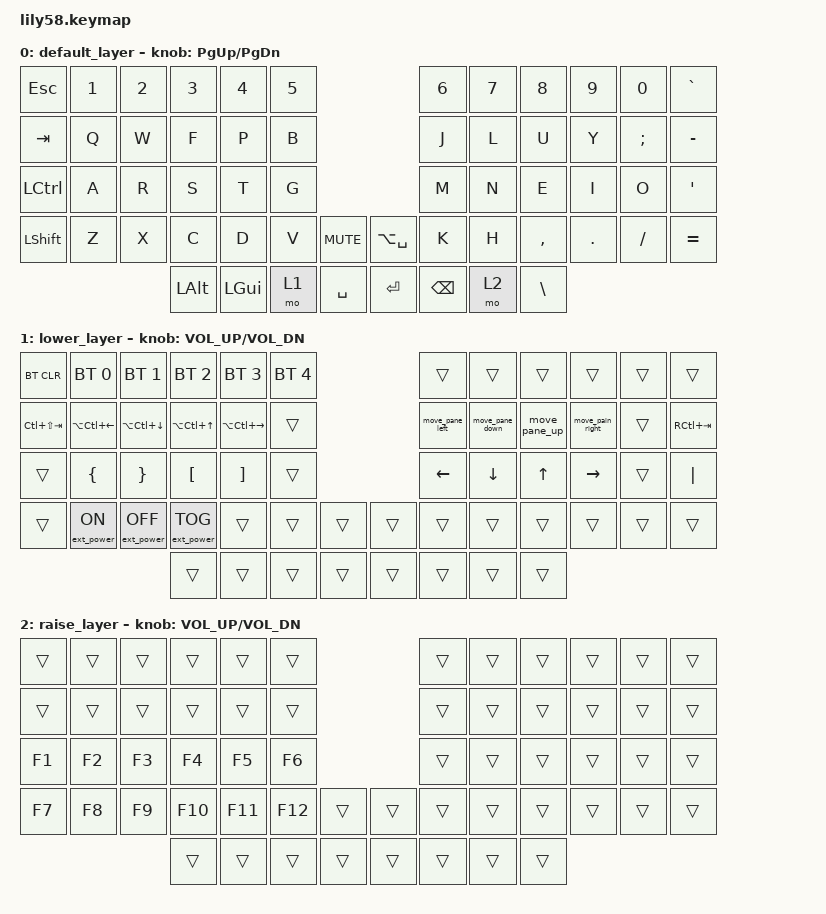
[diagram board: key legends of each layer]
/*
 * Copyright (c) 2020 The ZMK Contributors
 *
 * SPDX-License-Identifier: MIT
 */

#include <behaviors.dtsi>
#include <dt-bindings/zmk/keys.h>
#include <dt-bindings/zmk/bt.h>
#include <dt-bindings/zmk/ext_power.h>

#define MACRO(name, keys)             \
name: name##_macro {                  \
	label = #name;                    \
	compatible = "zmk,behavior-macro";\
	#binding-cells = <0>;             \
	tap-ms = <1>;                     \
	wait-ms = <1>;                    \
	bindings = <keys>;                \
};

/ {
    macros {
        MACRO(vim_q,  &kp COLON &kp Q &kp EXCL)
		MACRO(vim_s,  &kp COLON &kp W &kp Q)
		MACRO(dir_up, &kp DOT &kp DOT &kp FSLH)

        move_pane_left: move_pane_left {
            compatible = "zmk,behavior-macro";
            label = "move_pane_left";
            #binding-cells = <0>;
            bindings =
                <&macro_press>,
                <&kp LCTRL>,
                <&macro_tap>,
                <&kp W &kp H>,
                <&macro_release>,
                <&kp LCTRL>;
        };
        move_pain_right: move_pain_right {
            compatible = "zmk,behavior-macro";
            label = "move_pane_right";
            #binding-cells = <0>;
            bindings =
                <&macro_press>,
                <&kp LCTRL>,
                <&macro_tap>,
                <&kp W &kp L>,
                <&macro_release>,
                <&kp LCTRL>;
        };
        move_pane_up: move_pane_up {
            compatible = "zmk,behavior-macro";
            label = "new_macro";
            #binding-cells = <0>;
            bindings =
                <&macro_press>,
                <&kp LCTRL>,
                <&macro_tap>,
                <&kp W &kp K>,
                <&macro_release>,
                <&kp LCTRL>;
        };
        move_pane_down: move_pane_down {
            compatible = "zmk,behavior-macro";
            label = "new_macro";
            #binding-cells = <0>;
            bindings =
                <&macro_press>,
                <&kp LCTRL>,
                <&macro_tap>,
                <&kp W &kp J>,
                <&macro_release>,
                <&kp LCTRL>;
        };
    };
};

/ {
    keymap {
        compatible = "zmk,keymap";

        default_layer {
            // ------------------------------------------------------------------------------------------------------------
            // |  ESC  |  1  |  2  |  3   |  4   |  5   |                   |  6   |  7    |  8    |  9   |   0   |   `   |
            // |  TAB  |  Q  |  W  |  F   |  P   |  B   |                   |  J   |  L    |  U    |  Y   |   ;   |   -   |
            // |  CTRL |  A  |  R  |  S   |  T   |  G   |                   |  M   |  N    |  E    |  I   |   O   |   '   |
            // | SHIFT |  Z  |  X  |  C   |  D   |  V   |   "["  |  |  "]"  |  K   |  H    |  ,    |  .   |   /   | SHIFT |
            //                     | ALT  | GUI  | LOWER|  SPACE |  | ENTER | RAISE| BSPC  | GUI   |

            bindings = <
 &kp ESCAPE  &kp N1  &kp N2    &kp N3    &kp N4  &kp N5                                    &kp N6  &kp N7         &kp N8   &kp N9    &kp N0  &kp GRAVE
    &kp TAB   &kp Q   &kp W     &kp F     &kp P   &kp B                                     &kp J   &kp L          &kp U    &kp Y  &kp SEMI  &kp MINUS
  &kp LCTRL   &kp A   &kp R     &kp S     &kp T   &kp G                                     &kp M   &kp N          &kp E    &kp I     &kp O    &kp SQT
  &kp LSHFT   &kp Z   &kp X     &kp C     &kp D   &kp V  &kp K_MUTE  &kp LA(SPACE)          &kp K   &kp H      &kp COMMA  &kp DOT  &kp FSLH  &kp EQUAL
                             &kp LALT  &kp LGUI   &mo 1   &kp SPACE        &kp RET  &kp BACKSPACE   &mo 2  &kp BACKSLASH
            >;

            sensor-bindings = <&inc_dec_kp PG_UP PAGE_DOWN>;
        };

        lower_layer {
            // ------------------------------------------------------------------------------------------------------------
            // | BTCLR | BT1 | BT2 |  BT3 |  BT4 |  BT5 |                   |      |       |       |      |       |       |
            // |  F1   |  F2 |  F3 |  F4  |  F5  |  F6  |                   |  F7  |  F8   |  F9   |  F10 |  F11  |  F12  |
            // |   `   |  !  |  @  |  #   |  $   |  %   |                   |  ^   |  &    |  *    |  (   |   )   |   ~   |
            // |       |     |     |      |      |      |        |  |       |      |  _    |  +    |  {   |   }   |  "|"  |
            //                     |      |      |      |        |  |       |      |       |       |

            bindings = <
      &bt BT_CLR            &bt BT_SEL 0            &bt BT_SEL 1          &bt BT_SEL 2             &bt BT_SEL 3  &bt BT_SEL 4                           &trans           &trans         &trans            &trans  &trans       &trans
 &kp LC(LS(TAB))  &kp LA(LC(LEFT_ARROW))  &kp LA(LC(DOWN_ARROW))  &kp LA(LC(UP_ARROW))  &kp LA(LC(RIGHT_ARROW))        &trans                  &move_pane_left  &move_pane_down  &move_pane_up  &move_pain_right  &trans  &kp RC(TAB)
          &trans          &kp LEFT_BRACE         &kp RIGHT_BRACE      &kp LEFT_BRACKET        &kp RIGHT_BRACKET        &trans                         &kp LEFT         &kp DOWN         &kp UP         &kp RIGHT  &trans     &kp PIPE
          &trans        &ext_power EP_ON       &ext_power EP_OFF     &ext_power EP_TOG                   &trans        &trans  &trans  &trans           &trans           &trans         &trans            &trans  &trans       &trans
                                                                                &trans                   &trans        &trans  &trans  &trans           &trans           &trans         &trans
            >;

            sensor-bindings = <&inc_dec_kp C_VOL_UP C_VOL_DN>;
        };

        raise_layer {
            // ------------------------------------------------------------------------------------------------------------
            // |       |     |     |      |      |      |                   |      |       |       |      |       |       |
            // |   `   |  1  |  2  |  3   |  4   |  5   |                   |  6   |   7   |   8   |  9   |   0   |       |
            // |   F1  |  F2 |  F3 |  F4  |  F5  |  F6  |                   |      |   <-  |   v   |  ^   |  ->   |       |
            // |   F7  |  F8 |  F9 |  F10 |  F11 |  F12 |        |  |       |  +   |   -   |   =   |  [   |   ]   |   \   |
            //                     |      |      |      |        |  |       |      |       |       |

            bindings = <
 &trans  &trans  &trans   &trans   &trans   &trans                  &trans  &trans  &trans  &trans  &trans  &trans
 &trans  &trans  &trans   &trans   &trans   &trans                  &trans  &trans  &trans  &trans  &trans  &trans
 &kp F1  &kp F2  &kp F3   &kp F4   &kp F5   &kp F6                  &trans  &trans  &trans  &trans  &trans  &trans
 &kp F7  &kp F8  &kp F9  &kp F10  &kp F11  &kp F12  &trans  &trans  &trans  &trans  &trans  &trans  &trans  &trans
                          &trans   &trans   &trans  &trans  &trans  &trans  &trans  &trans
            >;

            sensor-bindings = <&inc_dec_kp C_VOL_UP C_VOL_DN>;
        };
    };
};
